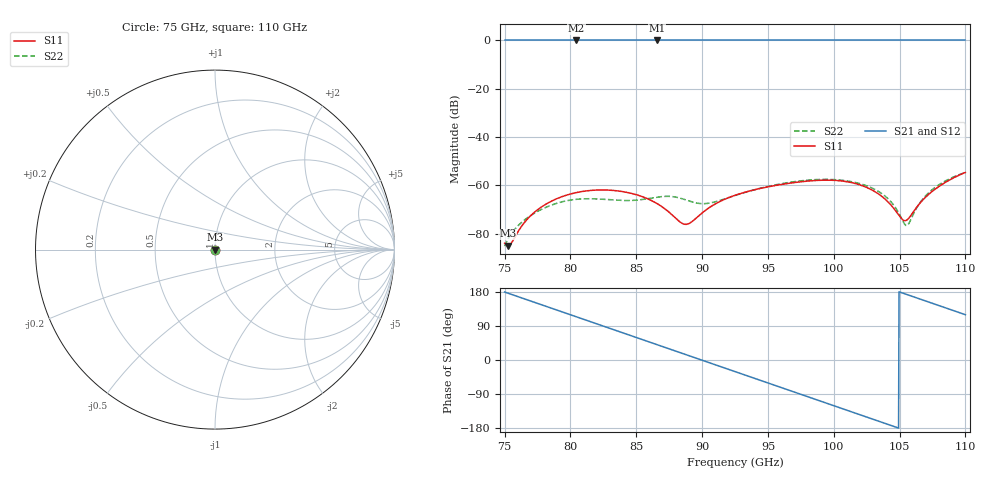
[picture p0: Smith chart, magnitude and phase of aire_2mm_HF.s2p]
! TOUCHSTONE file generated by CST MICROWAVE STUDIO
! Date and time: Fri Feb  2 21:30:44 2024
! Project name: aire_def.cst
! Header version: 2018
! Port assignment regex: !\s*Touchstone port\s*([0-9]+)\s*=\s*(CST MWS port|CST DS port)\s*([0-9]+|Zmin|Zmax)\s*\(\"(.*)\"\)(\s*mode\s*([0-9]+))?.*
! Touchstone port assignment:
! Touchstone port 1 = CST MWS port 1 ("")
! Touchstone port 2 = CST MWS port 2 ("")
# GHz S MA R 376.7
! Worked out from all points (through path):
!   1001 points, 75 GHz to 110 GHz, reference 376.7 ohm
!   highest |S21| = 0.00 dB at 86.58 GHz (marker M1); lowest = 0.0 dB at 80.46 GHz (marker M2)
!   group delay of S21, straight-line fit = 33.3 ps
!   lowest |S11| = -85.1 dB at 75.25 GHz (marker M3), VSWR 1.00, Z = 377 - j0.0116 ohm
!   |S11| at or under -10 dB: start of sweep to end of sweep
!   |S22| runs from -85.2 to -54.7 dB; largest |S21 - S12| = 0.00037
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75  6.308e-05 12.2  1 179.4  1 179.4  5.47e-05 -150.9
75.245  5.581e-05 -16.0  1 176.5  1 176.5  7.596e-05 -149.2
75.945  0.0001011 -80.9  1 168.1  0.9999 168.1  0.0001385 -144.9
77.765  0.0003497 -126.3  0.9999 146.2  1 146.2  0.0003128 -132.4
80.46  0.0007068 -170.0  0.9999 113.9  1 113.9  0.0005117 -114.0
80.845  0.0007396 -176.2  0.9999 109.2  1 109.3  0.0005213 -112.9
83.645  0.0007606 138.8  0.9999 75.6  1 75.6  0.0004873 -132.3
86.585  0.0004166 86.2  1 40.3  0.9999 40.3  0.0005665 141.8
86.69  0.0004003 83.9  1 39.1  0.9999 39.1  0.0005718 137.5
88.825  0.0001552 -14.9  1 13.5  0.9999 13.5  0.0004912 33.8
90.33  0.0003132 -87.6  1 -4.6  0.9999 -4.6  0.0004186 -44.6
92.5  0.000619 -123.5  1 -30.6  1 -30.6  0.0006145 -114.7
95.545  0.0009873 -155.2  1 -67.1  1 -67.1  0.001016 -160.1
98.345  0.001241 174.7  1 -100.7  1 -100.7  0.001297 168.4
101.74  0.001067 123.8  1 -141.4  0.9999 -141.4  0.001126 130.3
103.105  0.0007423 98.6  1 -157.8  0.9999 -157.8  0.0008246 116.9
104.19  0.0004337 72.8  1 -170.8  1 -170.8  0.000505 110.9
105.17  0.0002007 19.0  1 177.4  1 177.4  0.0001997 130.1
105.555  0.0001906 -23.0  1 172.8  1 172.8  0.0001465 172.9
106.535  0.0004214 -83.5  1 161.1  1 161.1  0.0004289 -131.8
107.305  0.0006821 -102.5  1 151.8  1 151.8  0.000739 -131.5
110  0.001839 -151.9  1 119.5  0.9999 119.5  0.001844 -152.0
